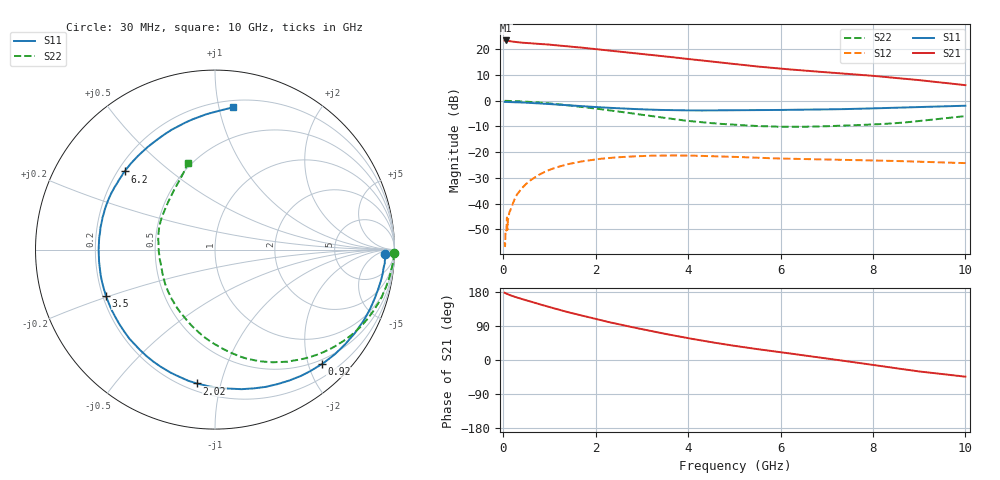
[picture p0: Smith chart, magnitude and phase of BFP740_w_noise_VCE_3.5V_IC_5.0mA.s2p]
! Infineon Technologies  Discrete & RF Semiconductors
! BFP740
! VCE =  3.5 V,  IC =  5.0 mA
! Common Emitter S-Parameters:  Jan 2016
# GHz  S  MA  R  50
!  f  S11  S21  S12  S22
! GHz  MAG  ANG  MAG  ANG  MAG  ANG  MAG  ANG
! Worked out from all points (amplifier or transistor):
!   229 points, 30 MHz to 10 GHz, reference 50 ohm
!   highest |S21| = 23.4 dB at 50 MHz (marker M1)
!   |S21| within 3 dB of that: start of sweep to 1.805 GHz
!   unconditionally stable (mu >= 1): 7.897 GHz to end of sweep
!   at 280 MHz: K = 0.12, MSG = 29.9 dB, |S12| = -37.0 dB
!   at 1.78 GHz: K = 0.23, MSG = 21.9 dB, |S12| = -23.3 dB
!   at 10 GHz: K = 1.16, MAG = 12.7 dB, |S12| = -24.2 dB
!   lowest NFmin = 0.44 dB at 450 MHz
!   S11 on the Smith chart (normalised r, x): 30 MHz: 30, -16; 920 MHz: 0.42, -2.23; 2.02 GHz: 0.25, -0.84; 3.5 GHz: 0.21, -0.20; 6.2 GHz: 0.23, +0.36; 10 GHz: 0.25, +1.10
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0.03  0.9496 -1.6  14.71 177.4  0.0018 87.8  0.9964 -1.1
0.04  0.949 -2.2  14.62 176.8  0.0015 89.3  0.9958 -1.5
0.05  0.9492 -2.7  14.8 176.5  0.0029 94.3  0.9941 -1.8
0.08  0.9491 -4.4  14.56 174.6  0.0054 93.6  0.9958 -3.0
0.09  0.948 -4.9  14.55 174.0  0.0031 93.5  0.9969 -3.4
0.13  0.9442 -7.1  14.45 171.9  0.0067 79.8  0.9931 -4.9
0.26  0.9351 -13.9  13.89 166.3  0.013 80.0  0.9828 -9.4
0.58  0.9085 -30.0  13.06 154.6  0.0281 70.3  0.9496 -20.2
0.92  0.8721 -47.1  12.49 142.4  0.0423 59.8  0.9001 -31.4
1.2  0.8384 -60.5  11.79 132.8  0.0524 51.8  0.8504 -40.3
1.7  0.7797 -83.9  10.74 117.0  0.0663 39.2  0.7592 -54.4
2.02  0.7526 -97.7  10 107.8  0.0731 31.7  0.7018 -63.3
2.3  0.7284 -110.0  9.428 99.6  0.0775 25.6  0.6523 -70.8
2.78  0.6937 -129.4  8.489 86.9  0.0828 16.5  0.5699 -82.9
3.4  0.6627 -153.4  7.428 71.4  0.086 5.9  0.4763 -99.8
3.5  0.6601 -156.9  7.257 69.1  0.0863 4.1  0.4637 -102.4
4.3  0.6474 177.0  6.029 51.2  0.085 -7.1  0.3822 -125.0
5.1  0.6543 157.5  5.025 35.7  0.0807 -15.3  0.338 -145.0
6.2  0.6653 139.1  4.055 17.3  0.0749 -22.2  0.3123 -170.1
6.8  0.6754 129.6  3.677 7.4  0.0727 -25.2  0.3152 175.5
8.4  0.7272 103.0  2.826 -20.0  0.0679 -32.4  0.362 139.0
10  0.7992 82.7  2.006 -44.0  0.0615 -35.6  0.5033 107.5
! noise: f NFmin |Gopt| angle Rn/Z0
0.45  0.44  0.4  11  0.23
0.9  0.45  0.41  17  0.22
1.5  0.49  0.39  26  0.21
1.9  0.52  0.38  42  0.21
2.4  0.55  0.38  46  0.2
3.5  0.65  0.35  68  0.18
5.5  0.87  0.24  164  0.16
10  1.52  0.55  -82  0.21
